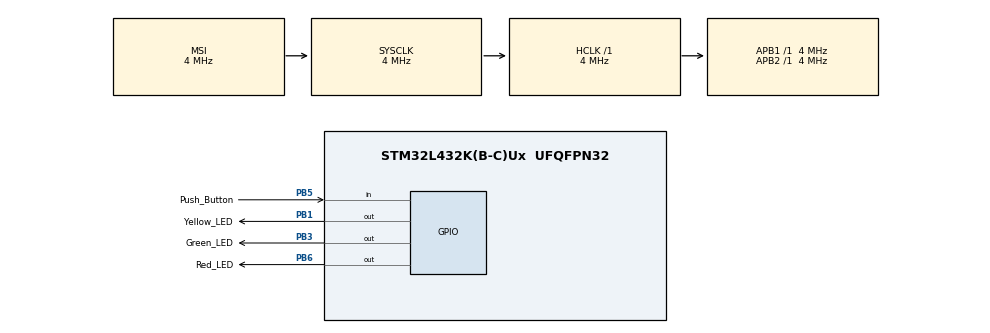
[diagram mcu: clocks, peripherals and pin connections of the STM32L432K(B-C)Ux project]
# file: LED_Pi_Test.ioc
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Mcu.Family=STM32L4
RCC.MSI_VALUE=4000000
RCC.CortexFreq_Value=4000000
PB6.GPIO_Label=Red_LED
PB3\ (JTDO-TRACESWO).GPIO_Label=Green_LED
ProjectManager.StackSize=0x400
PB3\ (JTDO-TRACESWO).Signal=GPIO_Output
ProjectManager.TargetToolchain=TrueSTUDIO
RCC.HCLKFreq_Value=4000000
RCC.APB2TimFreq_Value=4000000
PB6.Signal=GPIO_Output
RCC.LSE_VALUE=32768
RCC.AHBFreq_Value=4000000
RCC.HSE_VALUE=8000000
board=custom
RCC.VCOOutputFreq_Value=32000000
RCC.APB2Freq_Value=4000000
PB1.GPIO_Label=Yellow_LED
Mcu.Name=STM32L432K(B-C)Ux
RCC.SYSCLKFreq_VALUE=4000000
PB5.Signal=GPIO_Input
Mcu.Package=UFQFPN32
PB1.Signal=GPIO_Output
ProjectManager.HeapSize=0x200
RCC.HSI_VALUE=16000000
NVIC.PriorityGroup=NVIC_PRIORITYGROUP_4
PB5.GPIO_Label=Push_Button
RCC.APB1TimFreq_Value=4000000
RCC.APB1Freq_Value=4000000
RCC.HSI48_VALUE=48000000

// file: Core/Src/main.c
/* USER CODE BEGIN Header */
/**
  ******************************************************************************
  * @file           : main.c
  * @brief          : Main program body
  ******************************************************************************
  * @attention
  *
  * <h2><center>&copy; Copyright (c) 2020 STMicroelectronics.
  * All rights reserved.</center></h2>
  *
  * This software component is licensed by ST under BSD 3-Clause license,
  * the "License"; You may not use this file except in compliance with the
  * License. You may obtain a copy of the License at:
  *                        opensource.org/licenses/BSD-3-Clause
  *
  ******************************************************************************
  */
/* USER CODE END Header */
#include "main.h"

void SystemClock_Config(void);
static void MX_GPIO_Init(void);

int main(void)
{

  /* MCU Configuration--------------------------------------------------------*/

  /* Reset of all peripherals, Initializes the Flash interface and the Systick. */
  HAL_Init();

  /* Configure the system clock */
  SystemClock_Config();

  /* Initialize all configured peripherals */
  MX_GPIO_Init();

  /* Infinite loop */
  /* USER CODE BEGIN WHILE */
  while (1)
  {
	  if(HAL_GPIO_ReadPin(GPIOB, Push_Button_Pin)) {
		  HAL_GPIO_WritePin(GPIOB, Red_LED_Pin, GPIO_PIN_SET);			// Red LED "ON", signify door closed
		  HAL_Delay(3000);	// Delay 3 seconds
		  HAL_GPIO_WritePin(GPIOB, Red_LED_Pin, GPIO_PIN_RESET);		// Red LED "OFF", signify door closed
		  HAL_Delay(3000);	// Delay 3 second
		  HAL_GPIO_WritePin(GPIOB, Yellow_LED_Pin, GPIO_PIN_SET); 		// Yellow LED "ON", signify door opening/closing
		  HAL_Delay(3000);	// Delay 3 seconds
		  HAL_GPIO_WritePin(GPIOB, Yellow_LED_Pin, GPIO_PIN_RESET);		// Yellow LED "OFF", signify door not opening/closing
		  HAL_Delay(3000);	// Delay 3 seconds
		  HAL_GPIO_WritePin(GPIOB, Green_LED_Pin, GPIO_PIN_SET);		// Green LED "ON", signify door opened
		  HAL_Delay(3000);	// Delay 3 seconds
		  HAL_GPIO_WritePin(GPIOB, Green_LED_Pin, GPIO_PIN_RESET);		// Green LED "OFF", signify door no opened
		  HAL_Delay(3000);	// Delay 3 seconds
		  HAL_GPIO_WritePin(GPIOB, Yellow_LED_Pin, GPIO_PIN_SET);		// Yellow LED "ON", signify door opening/closing
		  HAL_Delay(3000);	// Delay 3 seconds
		  HAL_GPIO_WritePin(GPIOB, Yellow_LED_Pin, GPIO_PIN_RESET);		// Yellow LED "OFF", signify door done opening/closing
		  HAL_Delay(3000);	// Delay 3 seconds
		  HAL_GPIO_WritePin(GPIOB, Red_LED_Pin, GPIO_PIN_SET);			// Red LED "ON", signify door closed
	  }
	  else{}
    /* USER CODE END WHILE */

  }
}

void SystemClock_Config(void)
{
  RCC_OscInitTypeDef RCC_OscInitStruct = {0};
  RCC_ClkInitTypeDef RCC_ClkInitStruct = {0};

  /** Initializes the RCC Oscillators according to the specified parameters
  * in the RCC_OscInitTypeDef structure.
  */
  RCC_OscInitStruct.OscillatorType = RCC_OSCILLATORTYPE_MSI;
  RCC_OscInitStruct.MSIState = RCC_MSI_ON;
  RCC_OscInitStruct.MSICalibrationValue = 0;
  RCC_OscInitStruct.MSIClockRange = RCC_MSIRANGE_6;
  RCC_OscInitStruct.PLL.PLLState = RCC_PLL_NONE;
  if (HAL_RCC_OscConfig(&RCC_OscInitStruct) != HAL_OK)
  {
    Error_Handler();
  }
  /** Initializes the CPU, AHB and APB buses clocks
  */
  RCC_ClkInitStruct.ClockType = RCC_CLOCKTYPE_HCLK|RCC_CLOCKTYPE_SYSCLK
                              |RCC_CLOCKTYPE_PCLK1|RCC_CLOCKTYPE_PCLK2;
  RCC_ClkInitStruct.SYSCLKSource = RCC_SYSCLKSOURCE_MSI;
  RCC_ClkInitStruct.AHBCLKDivider = RCC_SYSCLK_DIV1;
  RCC_ClkInitStruct.APB1CLKDivider = RCC_HCLK_DIV1;
  RCC_ClkInitStruct.APB2CLKDivider = RCC_HCLK_DIV1;

  if (HAL_RCC_ClockConfig(&RCC_ClkInitStruct, FLASH_LATENCY_0) != HAL_OK)
  {
    Error_Handler();
  }
  /** Configure the main internal regulator output voltage
  */
  if (HAL_PWREx_ControlVoltageScaling(PWR_REGULATOR_VOLTAGE_SCALE1) != HAL_OK)
  {
    Error_Handler();
  }
}

static void MX_GPIO_Init(void)
{
  GPIO_InitTypeDef GPIO_InitStruct = {0};

  /* GPIO Ports Clock Enable */
  __HAL_RCC_GPIOB_CLK_ENABLE();

  /*Configure GPIO pin Output Level */
  HAL_GPIO_WritePin(GPIOB, Yellow_LED_Pin|Green_LED_Pin|Red_LED_Pin, GPIO_PIN_RESET);

  /*Configure GPIO pins : Yellow_LED_Pin Green_LED_Pin Red_LED_Pin */
  GPIO_InitStruct.Pin = Yellow_LED_Pin|Green_LED_Pin|Red_LED_Pin;
  GPIO_InitStruct.Mode = GPIO_MODE_OUTPUT_PP;
  GPIO_InitStruct.Pull = GPIO_NOPULL;
  GPIO_InitStruct.Speed = GPIO_SPEED_FREQ_LOW;
  HAL_GPIO_Init(GPIOB, &GPIO_InitStruct);

  /*Configure GPIO pin : Push_Button_Pin */
  GPIO_InitStruct.Pin = Push_Button_Pin;
  GPIO_InitStruct.Mode = GPIO_MODE_INPUT;
  GPIO_InitStruct.Pull = GPIO_NOPULL;
  HAL_GPIO_Init(Push_Button_GPIO_Port, &GPIO_InitStruct);

}

void Error_Handler(void)
{
}

/************************ (C) COPYRIGHT STMicroelectronics *****END OF FILE****/
